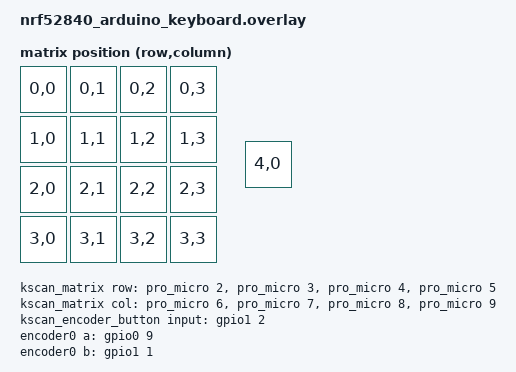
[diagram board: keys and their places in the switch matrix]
#include <dt-bindings/gpio/gpio.h>
#include <dt-bindings/i2c/i2c.h>
#include <dt-bindings/pinctrl/nrf-pinctrl.h>
#include <dt-bindings/zmk/matrix_transform.h>
#include <physical_layouts.dtsi>

/ {
    chosen {
        zmk,physical-layout = &physical_layout0;
        zmk,kscan = &kscan0;
        zephyr,display = &oled0;
    };

    kscan0: kscan_composite {
        compatible = "zmk,kscan-composite";
        rows = <5>;
        columns = <4>;
        wakeup-source;

        matrix {
            kscan = <&kscan_matrix>;
        };

        encoder_button {
            kscan = <&kscan_encoder_button>;
            row-offset = <4>;
        };
    };

    kscan_matrix: kscan_matrix {
        compatible = "zmk,kscan-gpio-matrix";
        diode-direction = "row2col";
        wakeup-source;
        debounce-press-ms = <5>;
        debounce-release-ms = <5>;
        debounce-scan-period-ms = <1>;

        row-gpios
            = <&pro_micro 2 GPIO_ACTIVE_HIGH>
            , <&pro_micro 3 GPIO_ACTIVE_HIGH>
            , <&pro_micro 4 GPIO_ACTIVE_HIGH>
            , <&pro_micro 5 GPIO_ACTIVE_HIGH>
            ;

        col-gpios
            = <&pro_micro 6 (GPIO_ACTIVE_HIGH | GPIO_PULL_DOWN)>
            , <&pro_micro 7 (GPIO_ACTIVE_HIGH | GPIO_PULL_DOWN)>
            , <&pro_micro 8 (GPIO_ACTIVE_HIGH | GPIO_PULL_DOWN)>
            , <&pro_micro 9 (GPIO_ACTIVE_HIGH | GPIO_PULL_DOWN)>
            ;
    };

    kscan_encoder_button: kscan_encoder_button {
        compatible = "zmk,kscan-gpio-direct";
        wakeup-source;
        debounce-press-ms = <5>;
        debounce-release-ms = <5>;
        debounce-scan-period-ms = <1>;
        input-gpios = <&gpio1 2 (GPIO_ACTIVE_LOW | GPIO_PULL_UP)>;
    };

    encoder0: encoder {
        compatible = "alps,ec11";
        a-gpios = <&gpio0 9 (GPIO_ACTIVE_HIGH | GPIO_PULL_UP)>;
        b-gpios = <&gpio1 1 (GPIO_ACTIVE_HIGH | GPIO_PULL_UP)>;
        steps = <80>;
        status = "okay";
    };

    sensors: sensors {
        compatible = "zmk,keymap-sensors";
        sensors = <&encoder0>;
        triggers-per-rotation = <20>;
    };

    default_transform: keymap_transform0 {
        compatible = "zmk,matrix-transform";
        rows = <5>;
        columns = <4>;
        map = <
            RC(0,0) RC(0,1) RC(0,2) RC(0,3)
            RC(1,0) RC(1,1) RC(1,2) RC(1,3)
            RC(2,0) RC(2,1) RC(2,2) RC(2,3)
            RC(3,0) RC(3,1) RC(3,2) RC(3,3)
            RC(4,0)
        >;
    };

    physical_layout0: physical_layout_0 {
        compatible = "zmk,physical-layout";
        display-name = "Default Layout";
        kscan = <&kscan0>;
        transform = <&default_transform>;
        keys = <
            &key_physical_attrs 100 100   0   0 0   0   0
            &key_physical_attrs 100 100 100   0 0   0   0
            &key_physical_attrs 100 100 200   0 0   0   0
            &key_physical_attrs 100 100 300   0 0   0   0
            &key_physical_attrs 100 100   0 100 0   0   0
            &key_physical_attrs 100 100 100 100 0   0   0
            &key_physical_attrs 100 100 200 100 0   0   0
            &key_physical_attrs 100 100 300 100 0   0   0
            &key_physical_attrs 100 100   0 200 0   0   0
            &key_physical_attrs 100 100 100 200 0   0   0
            &key_physical_attrs 100 100 200 200 0   0   0
            &key_physical_attrs 100 100 300 200 0   0   0
            &key_physical_attrs 100 100   0 300 0   0   0
            &key_physical_attrs 100 100 100 300 0   0   0
            &key_physical_attrs 100 100 200 300 0   0   0
            &key_physical_attrs 100 100 300 300 0   0   0
            &key_physical_attrs 100 100 450 150 0   0   0
        >;
    };
};

&pinctrl {
    i2c0_default: i2c0_default {
        group1 {
            psels = <NRF_PSEL(TWIM_SDA, 0, 26)>,
                    <NRF_PSEL(TWIM_SCL, 0, 27)>;
        };
    };

    i2c0_sleep: i2c0_sleep {
        group1 {
            psels = <NRF_PSEL(TWIM_SDA, 0, 26)>,
                    <NRF_PSEL(TWIM_SCL, 0, 27)>;
            low-power-enable;
        };
    };
};

&i2c0 {
    compatible = "nordic,nrf-twim";
    status = "okay";
    pinctrl-0 = <&i2c0_default>;
    pinctrl-1 = <&i2c0_sleep>;
    pinctrl-names = "default", "sleep";
    clock-frequency = <I2C_BITRATE_FAST>;
    zephyr,concat-buf-size = <2048>;

    oled0: ssd1306@3c {
        compatible = "solomon,ssd1306fb";
        reg = <0x3c>;
        width = <128>;
        height = <64>;
        segment-offset = <0>;
        page-offset = <0>;
        display-offset = <0>;
        multiplex-ratio = <63>;
        prechargep = <0x22>;
        segment-remap;
        com-invdir;
        status = "okay";
    };
};
